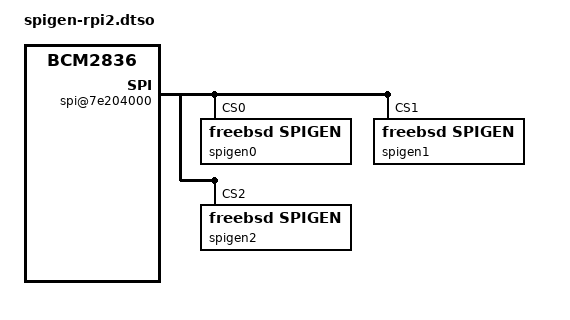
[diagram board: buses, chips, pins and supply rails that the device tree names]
/* $FreeBSD$ */

/dts-v1/;
/plugin/;

/ {
	compatible = "brcm,bcm2836";
};
	
&{/soc/spi@7e204000} {
	status = "okay";
	spigen0: spigen0 {
		compatible = "freebsd,spigen";
		reg = <0>;
		status = "okay";
	};
	spigen1: spigen1 {
		compatible = "freebsd,spigen";
		reg = <1>;
		status = "okay";
	};
	spigen2: spigen2 {
		compatible = "freebsd,spigen";
		reg = <2>;
		status = "okay";
	};
};

&{/soc/gpio@7e200000/spi0_cs_pins} {
	brcm,pins = <8 7 16>;
	brcm,function = <4>; /* ALT0 */
};

&{/soc/gpio@7e200000/spi0_gpio7} {
	brcm,pins = <7 8 16 9 10 11>;
};

